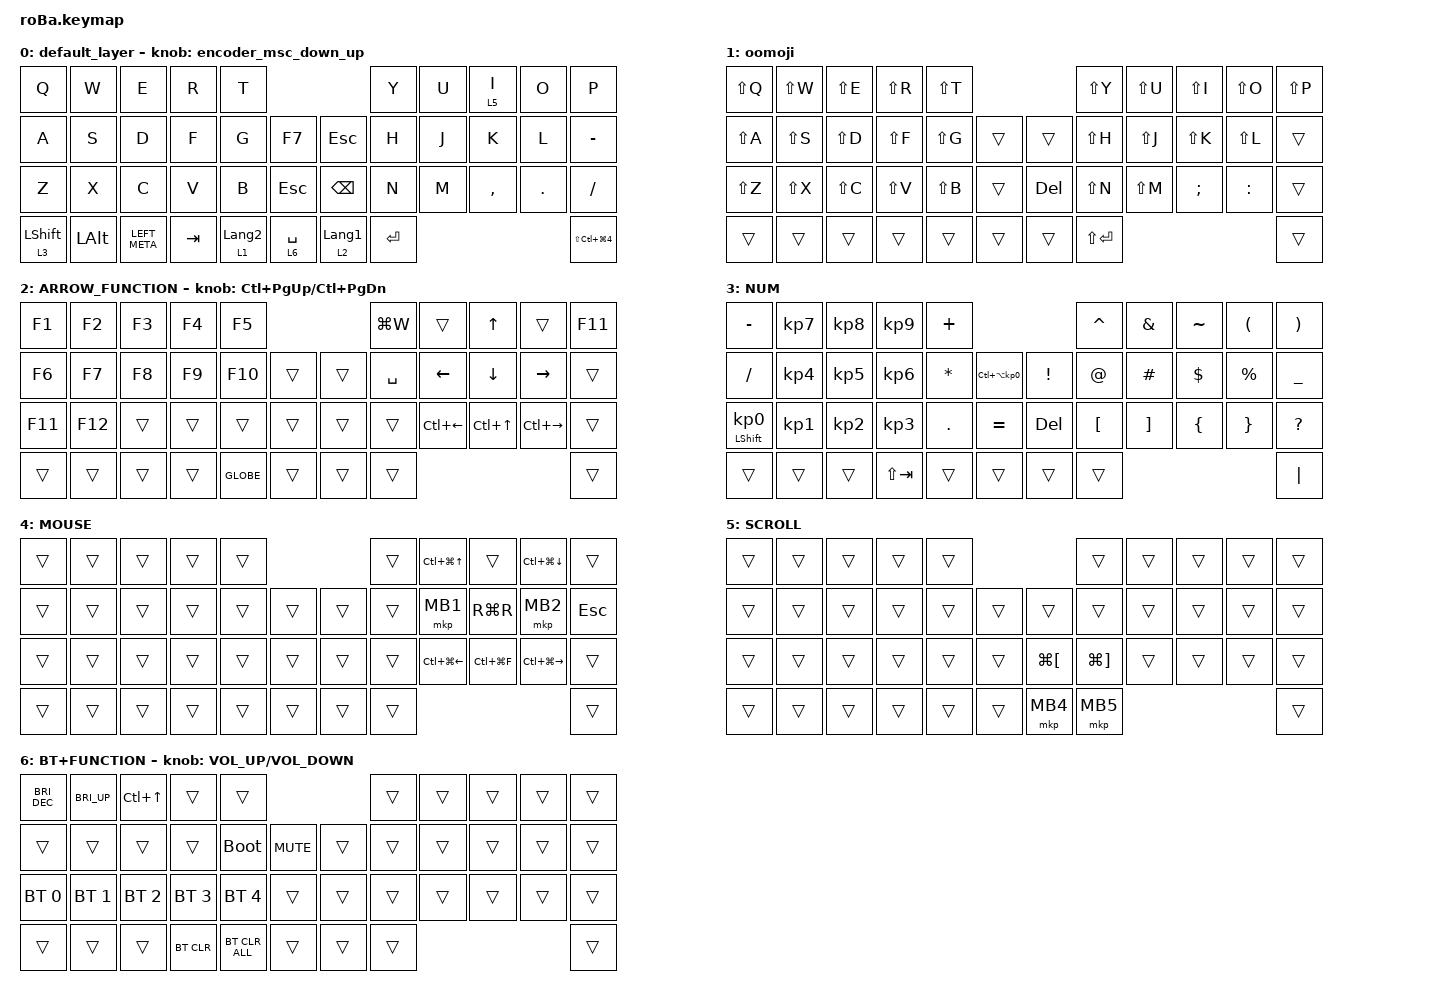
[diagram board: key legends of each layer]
#define ZMK_POINTING_DEFAULT_SCRL_VAL 80

#include <behaviors.dtsi>
#include <dt-bindings/zmk/bt.h>
#include <dt-bindings/zmk/keys.h>
#include <dt-bindings/zmk/pointing.h>

&mt {
    flavor = "balanced";
    quick-tap-ms = <0>;
};

&trackball {
    automouse-layer = <4>;
    scroll-layers = <5>;

    // arrows {
    //     layers = <3>;
    //     bindings =
    //         <&kp RIGHT_ARROW>,
    //         <&kp LEFT_ARROW>,
    //         <&kp UP_ARROW>,
    //         <&kp DOWN_ARROW>;
    //     tick = <10>;
    //     wait-ms = <5>;
    //     tap-ms = <5>;
    // };
};

/ {
    combos {
        compatible = "zmk,combos";

        tab {
            bindings = <&kp TAB>;
            key-positions = <11 12>;
        };

        shift_tab {
            bindings = <&kp LS(TAB)>;
            key-positions = <12 13>;
        };

        muhennkann {
            bindings = <&to_layer_0 INT_MUHENKAN>;
            key-positions = <11 10>;
        };

        double_quotation {
            bindings = <&kp DOUBLE_QUOTES>;
            key-positions = <20 21>;
        };

        eq {
            bindings = <&kp EQUAL>;
            key-positions = <24 25>;
        };
    };

    macros {
        to_layer_0: to_layer_0 {
            compatible = "zmk,behavior-macro-one-param";
            #binding-cells = <1>;
            bindings = <&to 0 &macro_param_1to1 &kp MACRO_PLACEHOLDER>;
            label = "TO_LAYER_0";
        };
    };

    behaviors {
        lt_to_layer_0: lt_to_layer_0 {
            compatible = "zmk,behavior-hold-tap";
            label = "LAYER_TAP_TO_0";
            bindings = <&mo>, <&to_layer_0>;

            #binding-cells = <2>;
            tapping-term-ms = <200>;
        };

        encoder_msc_down_up: encoder_msc_down_up {
            compatible = "zmk,behavior-sensor-rotate";
            label = "ENCODER_MSC_DOWN_UP";
            #sensor-binding-cells = <0>;
            bindings = <&msc SCRL_DOWN>, <&msc SCRL_UP>;

            tap-ms = <20>;
        };
    };

    keymap {
        compatible = "zmk,keymap";

        default_layer {
            bindings = <
&kp Q             &kp W         &kp E          &kp R    &kp T                                                &kp Y      &kp U  &lt 5 I    &kp O    &kp P
&kp A             &kp S         &kp D          &kp F    &kp G             &kp F7           &kp ESCAPE        &kp H      &kp J  &kp K      &kp L    &kp MINUS
&kp Z             &kp X         &kp C          &kp V    &kp B             &kp ESCAPE       &kp BACKSPACE     &kp N      &kp M  &kp COMMA  &kp DOT  &kp SLASH
&lt 3 LEFT_SHIFT  &kp LEFT_ALT  &kp LEFT_META  &kp TAB  &lt 1 LANGUAGE_2  &lt 6 SPACE      &lt 2 LANGUAGE_1  &kp ENTER                             &kp LS(LC(LG(NUMBER_4)))
            >;

            sensor-bindings = <&encoder_msc_down_up>;
        };

        oomoji {
            bindings = <
&kp LS(Q)  &kp LS(W)  &kp LS(E)  &kp LS(R)  &kp LS(T)                       &kp LS(Y)      &kp LS(U)  &kp LS(I)      &kp LS(O)  &kp LS(P)
&kp LS(A)  &kp LS(S)  &kp LS(D)  &kp LS(F)  &kp LS(G)  &trans      &trans   &kp LS(H)      &kp LS(J)  &kp LS(K)      &kp LS(L)  &trans
&kp LS(Z)  &kp LS(X)  &kp LS(C)  &kp LS(V)  &kp LS(B)  &trans      &kp DEL  &kp LS(N)      &kp LS(M)  &kp SEMICOLON  &kp COLON  &trans
&trans     &trans     &trans     &trans     &trans     &trans      &trans   &kp LS(ENTER)                                       &trans
            >;
        };

        ARROW_FUNCTION {
            bindings = <
&kp F1   &kp F2   &kp F3  &kp F4  &kp F5                         &kp LG(W)  &trans          &kp UP_ARROW      &trans           &kp F11
&kp F6   &kp F7   &kp F8  &kp F9  &kp F10    &trans      &trans  &kp SPACE  &kp LEFT_ARROW  &kp DOWN_ARROW    &kp RIGHT_ARROW  &trans
&kp F11  &kp F12  &trans  &trans  &trans     &trans      &trans  &trans     &kp LC(LEFT)    &kp LC(UP_ARROW)  &kp LC(RIGHT)    &trans
&trans   &trans   &trans  &trans  &kp GLOBE  &trans      &trans  &trans                                                        &trans
            >;

            sensor-bindings = <&inc_dec_kp LC(PAGE_UP) LC(PAGE_DOWN)>;
        };

        NUM {
            bindings = <
&kp MINUS                   &kp KP_NUMBER_7  &kp KP_NUMBER_8  &kp KP_NUMBER_9  &kp PLUS                                                    &kp CARET         &kp AMPERSAND      &kp TILDE       &kp LEFT_PARENTHESIS  &kp RIGHT_PARENTHESIS
&kp SLASH                   &kp KP_NUMBER_4  &kp KP_NUMBER_5  &kp KP_NUMBER_6  &kp ASTERISK  &kp LC(LA(KP_NUMBER_0))      &kp EXCLAMATION  &kp AT_SIGN       &kp HASH           &kp DOLLAR      &kp PERCENT           &kp UNDERSCORE
&mt LEFT_SHIFT KP_NUMBER_0  &kp KP_NUMBER_1  &kp KP_NUMBER_2  &kp KP_NUMBER_3  &kp PERIOD    &kp EQUAL                    &kp DEL          &kp LEFT_BRACKET  &kp RIGHT_BRACKET  &kp LEFT_BRACE  &kp RIGHT_BRACE       &kp QUESTION
&trans                      &trans           &trans           &kp LS(TAB)      &trans        &trans                       &trans           &trans                                                                     &kp PIPE
            >;
        };

        MOUSE {
            bindings = <
&trans  &trans  &trans  &trans  &trans                      &trans  &kp LC(LG(UP_ARROW))  &trans         &kp LC(LG(DOWN_ARROW))  &trans
&trans  &trans  &trans  &trans  &trans  &trans      &trans  &trans  &mkp MB1              &kp RG(R)      &mkp MB2                &kp ESCAPE
&trans  &trans  &trans  &trans  &trans  &trans      &trans  &trans  &kp LC(LG(LEFT))      &kp LC(LG(F))  &kp LC(LG(RIGHT))       &trans
&trans  &trans  &trans  &trans  &trans  &trans      &trans  &trans                                                               &trans
            >;
        };

        SCROLL {
            bindings = <
&trans  &trans  &trans  &trans  &trans                                    &trans                 &trans  &trans  &trans  &trans
&trans  &trans  &trans  &trans  &trans  &trans      &trans                &trans                 &trans  &trans  &trans  &trans
&trans  &trans  &trans  &trans  &trans  &trans      &kp LG(LEFT_BRACKET)  &kp LG(RIGHT_BRACKET)  &trans  &trans  &trans  &trans
&trans  &trans  &trans  &trans  &trans  &trans      &mkp MB4              &mkp MB5                                       &trans
            >;
        };

        BT+FUNCTION {
            bindings = <
&kp C_BRI_DEC  &kp C_BRI_UP  &kp LC(UP_ARROW)  &trans        &trans                                  &trans  &trans  &trans  &trans  &trans
&trans         &trans        &trans            &trans        &bootloader     &kp K_MUTE      &trans  &trans  &trans  &trans  &trans  &trans
&bt BT_SEL 0   &bt BT_SEL 1  &bt BT_SEL 2      &bt BT_SEL 3  &bt BT_SEL 4    &trans          &trans  &trans  &trans  &trans  &trans  &trans
&trans         &trans        &trans            &bt BT_CLR    &bt BT_CLR_ALL  &trans          &trans  &trans                          &trans
            >;

            sensor-bindings = <&inc_dec_kp C_VOLUME_UP C_VOLUME_DOWN>;
        };
    };
};
